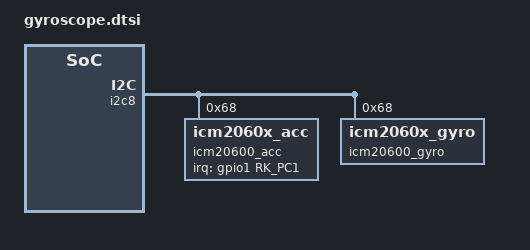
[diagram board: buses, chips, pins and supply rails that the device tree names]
&i2c8 {
	status = "okay";
	pinctrl-0 = <&i2c8m1_xfer>;

	icm20600_acc: icm_acc@68 {
		status = "okay";
		compatible = "icm2060x_acc";
		reg = <0x68>;
		irq-gpio = <&gpio1 RK_PC1 IRQ_TYPE_EDGE_RISING>;
		irq_enable = <0>;
		poll_delay_ms = <30>;
		type = <SENSOR_TYPE_ACCEL>;
		layout = <5>;
	};

	icm20600_gyro: icm_gyro@68 {
		status = "okay";
		compatible = "icm2060x_gyro";
		reg = <0x68>;
		poll_delay_ms = <30>;
		type = <SENSOR_TYPE_GYROSCOPE>;
		layout = <5>;
	};

};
